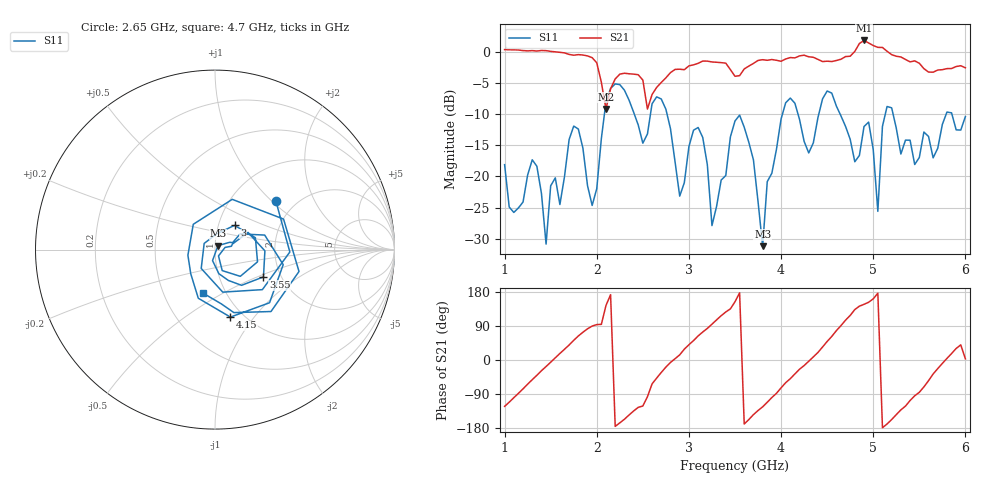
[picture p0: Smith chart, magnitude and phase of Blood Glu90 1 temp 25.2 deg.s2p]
! NanoVNA-App
! Date: 2024-03-21 13:43:27
! Start: 1GHz Stop: 6GHz Points: 101
! S-Parameter data: F S11 S21 S12 S22
# Hz S RI R 50
!	Frequency	S11_Real	S11_Imag	S21_Real	S21_Imag	S12_Real	S12_Imag	S22_Real	S22_Imag
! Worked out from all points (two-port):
!   101 points, 1 GHz to 6 GHz, reference 50 ohm
!   highest |S21| = 1.79 dB at 4.9 GHz (marker M1); lowest = -9.2 dB at 2.1 GHz (marker M2)
!   |S21| within 3 dB of the highest: start of sweep to 1.965 GHz; 4.651 GHz to 5.344 GHz (692.3 MHz wide, 13.9 % of centre)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
!   lowest |S11| = -31.2 dB at 3.8 GHz (marker M3), VSWR 1.06, Z = 51.6 + j2.28 ohm
!   |S11| at or under -10 dB: start of sweep to 2.083 GHz; 2.762 GHz to 4.015 GHz (1.253 GHz wide, 37 % of centre); 5.215 GHz to 5.792 GHz (576.8 MHz wide, 10.5 % of centre)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
!   S12 and S22 are empty: the file has one direction only
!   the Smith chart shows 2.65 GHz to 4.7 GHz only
!   S11 on the Smith chart (normalised r, x): 2.65 GHz: 1.59, +1.06; 3 GHz: 1.19, +0.33; 3.55 GHz: 1.63, -0.55; 4.15 GHz: 0.87, -0.77; 4.7 GHz: 0.78, -0.40
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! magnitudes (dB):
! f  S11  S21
! 1 GHz  -18.1  0.3
! 1.35 GHz  -18.4  0.1
! 1.45 GHz  -30.9  0.2
! 1.85 GHz  -15.5  -0.5
! 1.95 GHz  -24.7  -1.0
! 2.1 GHz  -8.0  -9.2
! 2.65 GHz  -7.3  -5.7
! 2.7 GHz  -7.6  -4.9
! 2.9 GHz  -23.2  -2.8
! 3 GHz  -15.2  -2.3
! 3.15 GHz  -13.8  -1.5
! 3.25 GHz  -27.9  -1.7
! 3.5 GHz  -11.1  -3.9
! 3.55 GHz  -10.2  -3.9
! 3.8 GHz  -31.2  -1.3
! 4.15 GHz  -8.3  -1.0
! 4.35 GHz  -14.6  -0.9
! 4.7 GHz  -12.0  -0.8
! 4.9 GHz  -12.0  1.8
! 5.05 GHz  -25.6  0.7
! 5.2 GHz  -9.0  -0.5
! 6 GHz  -10.4  -2.6
